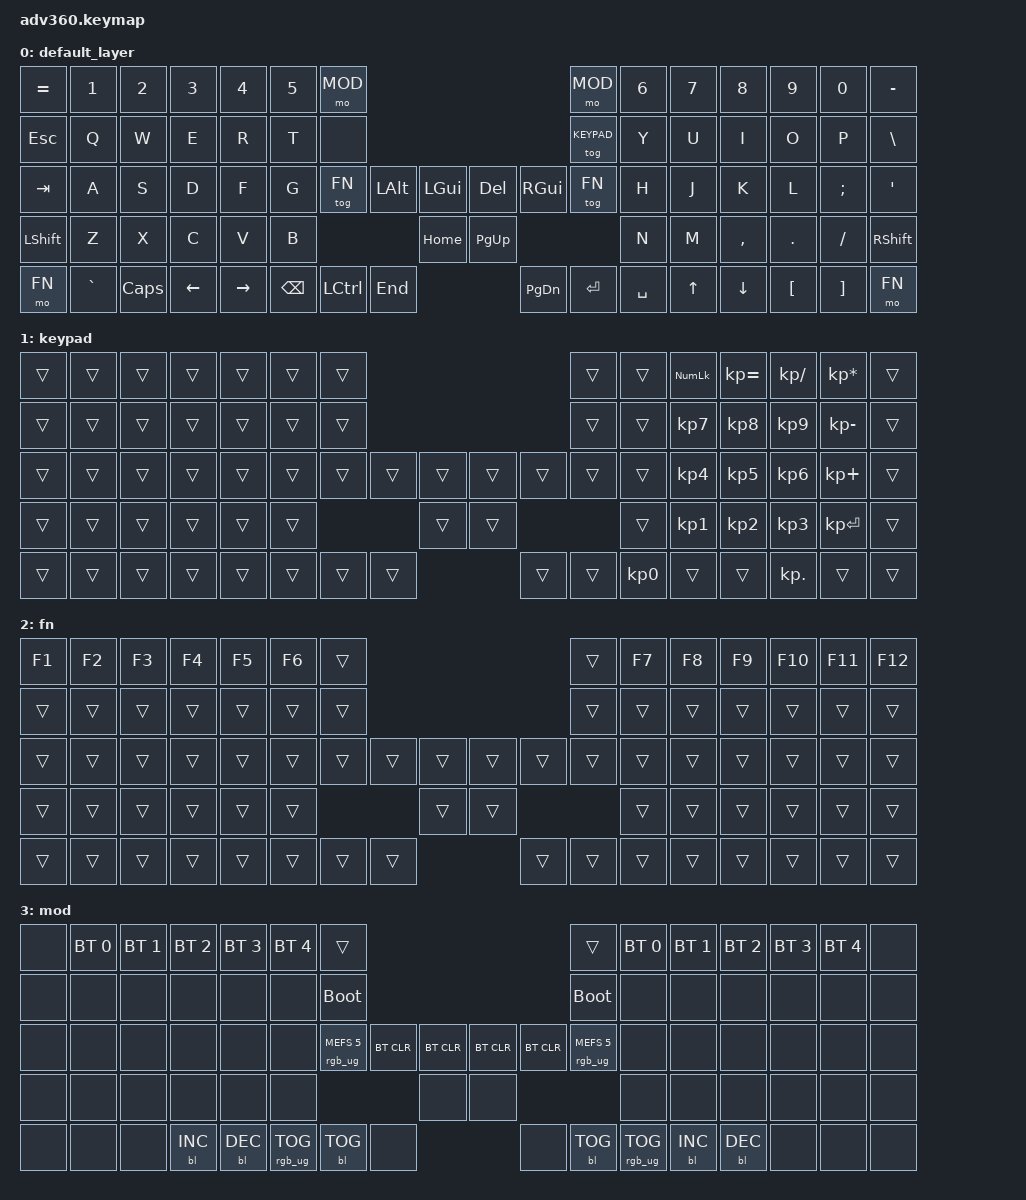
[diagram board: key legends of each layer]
#include <behaviors.dtsi>
#include <dt-bindings/zmk/keys.h>
#include <dt-bindings/zmk/bt.h>
#include <dt-bindings/zmk/rgb.h>
#include <dt-bindings/zmk/backlight.h>
// #include <dt-bindings/zmk/mouse.h>

#define DEFAULT 0
#define KEYPAD 1
#define FN 2
// #define MOUSE 3
#define MOD 3

/ {
    behaviors {
      #include "macros.dtsi"

      hm: homerow_mods {
          compatible = "zmk,behavior-hold-tap";
          label = "HOMEROW_MODS";
          #binding-cells = <2>;
          tapping-term-ms = <200>;
          quick_tap_ms = <175>;
          flavor = "tap-preferred";
          bindings = <&kp>, <&kp>;
      };
    };

  keymap {
    compatible = "zmk,keymap";

    default_layer {
      bindings = <
        &kp EQUAL &kp N1    &kp N2   &kp N3   &kp N4     &kp N5 &mo MOD                                                            &mo MOD     &kp N6 &kp N7 &kp N8    &kp N9   &kp N0   &kp MINUS
        &kp ESC   &kp Q     &kp W    &kp E    &kp R      &kp T  &none                                                              &tog KEYPAD &kp Y  &kp U  &kp I     &kp O    &kp P    &kp BSLH
        &kp TAB   &kp A     &kp S    &kp D    &kp F      &kp G  &tog FN         &kp LALT  &kp LGUI  &kp DEL   &kp RGUI             &tog FN     &kp H  &kp J  &kp K     &kp L    &kp SEMI &kp SQT
        &kp LSHFT &kp Z     &kp X    &kp C    &kp V      &kp B                            &kp HOME  &kp PG_UP                                  &kp N  &kp M  &kp COMMA &kp DOT  &kp FSLH &kp RSHFT
        &mo FN    &kp GRAVE &kp CAPS &kp LEFT &kp RIGHT                &kp BSPC &kp LCTRL &kp END   &kp PG_DN &kp ENTER &kp SPACE                     &kp UP &kp DOWN  &kp LBKT &kp RBKT &mo FN
      >;
    };
    keypad {
      bindings = <
        &trans &trans &trans &trans &trans  &trans &trans                                                &trans &trans &kp KP_NUM &kp KP_EQUAL &kp KP_DIVIDE &kp KP_MULTIPLY &trans
        &trans &trans &trans &trans &trans  &trans &trans                                                &trans &trans &kp KP_N7  &kp KP_N8    &kp KP_N9     &kp KP_MINUS    &trans
        &trans &trans &trans &trans &trans  &trans &trans        &trans &trans &trans &trans             &trans &trans &kp KP_N4  &kp KP_N5    &kp KP_N6     &kp KP_PLUS     &trans
        &trans &trans &trans &trans &trans  &trans                      &trans &trans                           &trans &kp KP_N1  &kp KP_N2    &kp KP_N3     &kp KP_ENTER    &trans
        &trans &trans &trans &trans &trans                &trans &trans &trans &trans &trans  &kp KP_N0                &trans     &trans       &kp KP_DOT    &trans          &trans
      >;
    };
    fn {
      bindings = <
        &kp F1 &kp F2 &kp F3 &kp F4 &kp F5 &kp F6  &trans                                         &trans &kp F7 &kp F8 &kp F9 &kp F10 &kp F11 &kp F12
        &trans &trans &trans &trans &trans &trans  &trans                                         &trans &trans &trans &trans &trans  &trans  &trans
        &trans &trans &trans &trans &trans &trans  &trans       &trans &trans &trans &trans       &trans &trans &trans &trans &trans  &trans  &trans
        &trans &trans &trans &trans &trans &trans                      &trans &trans                     &trans &trans &trans &trans  &trans  &trans
        &trans &trans &trans &trans &trans               &trans &trans &trans &trans &trans &trans              &trans &trans &trans  &trans  &trans
      >;
    };
    /*    mouse {
      bindings = <
        &trans &trans   &trans   &trans   &trans   &trans &trans                                           &trans &trans &trans         &trans           &trans         &trans           &trans
        &trans &trans   &trans   &trans   &trans   &trans &trans                                           &trans &trans &trans         &mwh SCROLL_DOWN &mwh SCROLL_UP &trans           &trans
        &trans &mkp MB4 &mkp MB2 &mkp MB3 &mkp MB1 &trans &trans        &trans &trans &trans &trans        &trans &trans &mmv MOVE_LEFT &mmv MOVE_DOWN   &mmv MOVE_UP   &mmv MOVE_RIGHT  &trans
        &trans &trans   &trans   &trans   &trans   &trans                      &trans &trans                      &trans &trans         &trans           &trans         &trans           &trans
        &trans &trans   &trans   &trans   &trans                 &trans &trans &trans &trans &trans &trans               &trans         &trans           &trans         &trans           &trans
      >;
      }; */
    mod {
      bindings = <
        &none &bt BT_SEL 0 &bt BT_SEL 1 &bt BT_SEL 2 &bt BT_SEL 3 &bt BT_SEL 4 &trans                                                                                             &trans                 &bt BT_SEL 0 &bt BT_SEL 1 &bt BT_SEL 2 &bt BT_SEL 3 &bt BT_SEL 4 &none
        &none &none        &none        &none        &none        &none        &bootloader                                                                                        &bootloader            &none        &none        &none        &none        &none        &none
        &none &none        &none        &none        &none        &none        &rgb_ug RGB_MEFS_CMD 5                 &bt BT_CLR &bt BT_CLR &bt BT_CLR &bt BT_CLR                 &rgb_ug RGB_MEFS_CMD 5 &none        &none        &none        &none        &none        &none
        &none &none        &none        &none        &none        &none                                                          &none      &none                                                        &none        &none        &none        &none        &none        &none
        &none &none        &none        &bl BL_INC   &bl BL_DEC                                       &rgb_ug RGB_TOG &bl BL_TOG &none      &none      &bl BL_TOG &rgb_ug RGB_TOG                                     &bl BL_INC   &bl BL_DEC   &none        &none        &none
       >;
    };
  };
};
